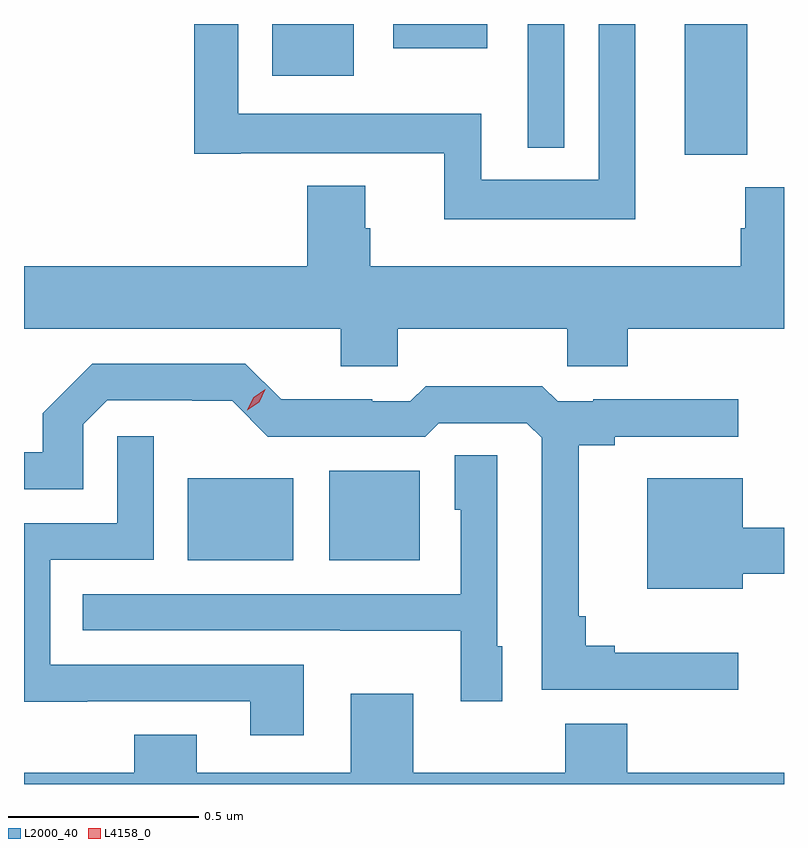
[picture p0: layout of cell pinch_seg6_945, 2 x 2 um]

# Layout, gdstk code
import gdstk
lib = gdstk.Library(unit=1e-6, precision=1e-09)
def R(c, l, rs):  # rectangles x0, y0, x1, y1
    for r in rs: c.add(gdstk.rectangle(r[:2], r[2:], *l))
def P(c, l, *ps):  # polygons
    for p in ps: c.add(gdstk.Polygon(p, *l))
L2000_40 = (2000, 40)
L4158_0 = (4158, 0)

pinch_seg6_945 = lib.new_cell('pinch_seg6_945')
R(pinch_seg6_945, L2000_40, [(185.342,945.395,185.62,945.61), (185.714,945.395,185.953,945.631), (186.65,946.462,186.814,946.806), (186.237,946.481,186.333,946.806), (185.564,946.67,185.779,946.806), (185.883,946.742,186.13,946.806)])
P(pinch_seg6_945, L2000_40, [(186.52,946.806),(186.423,946.806),(186.423,946.396),(186.114,946.396),(186.114,946.57),(185.475,946.57),(185.475,946.806),(185.359,946.806),(185.359,946.464),(185.482,946.464),(185.482,946.466),(186.017,946.466),(186.017,946.292),(186.52,946.292)],
  [(185.895,946.004),(186.34,946.004),(186.34,945.906),(186.5,945.906),(186.5,946.004),(186.911,946.004),(186.911,946.377),(186.809,946.377),(186.809,946.268),(186.797,946.268),(186.797,946.168),(185.822,946.168),(185.822,946.269),(185.809,946.269),(185.809,946.381),(185.657,946.381),(185.657,946.168),(184.911,946.168),(184.911,946.004),(185.744,946.004),(185.744,945.906),(185.895,945.906)],
  [(186.79,945.151),(186.466,945.151),(186.466,945.17),(186.389,945.17),(186.389,945.247),(186.371,945.247),(186.371,945.698),(186.466,945.698),(186.466,945.72),(186.79,945.72),(186.79,945.818),(186.409,945.818),(186.409,945.813),(186.315,945.813),(186.275,945.853),(185.968,945.853),(185.928,945.813),(185.828,945.813),(185.828,945.818),(185.588,945.818),(185.493,945.912),(185.09,945.912),(184.96,945.782),(184.96,945.679),(184.911,945.679),(184.911,945.582),(185.067,945.582),(185.067,945.753),(185.13,945.816),(185.354,945.816),(185.354,945.815),(185.459,945.815),(185.553,945.72),(185.967,945.72),(186.003,945.756),(186.234,945.756),(186.273,945.717),(186.273,945.054),(186.79,945.054)],
  [(185.647,945.12),(184.98,945.12),(184.98,945.396),(185.253,945.396),(185.253,945.721),(185.157,945.721),(185.157,945.492),(184.911,945.492),(184.911,945.023),(185.077,945.023),(185.077,945.024),(185.507,945.024),(185.507,944.934),(185.647,944.934)],
  [(186.169,945.168),(186.156,945.168),(186.156,945.671),(186.044,945.671),(186.044,945.528),(186.06,945.528),(186.06,945.306),(185.065,945.306),(185.065,945.21),(185.743,945.21),(185.743,945.209),(186.06,945.209),(186.06,945.024),(186.169,945.024)],
  [(186.802,945.359),(186.911,945.359),(186.911,945.481),(186.802,945.481),(186.802,945.61),(186.551,945.61),(186.551,945.32),(186.802,945.32)],
  [(186.911,944.836),(186.499,944.836),(186.499,944.965),(186.335,944.965),(186.335,944.836),(185.935,944.836),(185.935,945.043),(185.771,945.043),(185.771,944.836),(185.365,944.836),(185.365,944.935),(185.201,944.935),(185.201,944.836),(184.911,944.836),(184.911,944.806),(186.911,944.806)])
P(pinch_seg6_945, L4158_0, [(185.499,945.79),(185.499,945.791),(185.515,945.824),(185.546,945.845),(185.546,945.845),(185.546,945.845),(185.53,945.811),(185.499,945.79)])

lib.write_gds('pinch_seg6_945.gds')
